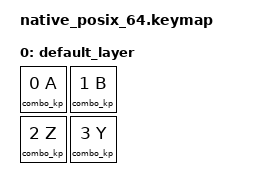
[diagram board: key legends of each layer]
#include <dt-bindings/zmk/keys.h>
#include <behaviors.dtsi>
#include <dt-bindings/zmk/kscan_mock.h>

/ {
    combos {
        compatible = "zmk,combos";
        combo_one {
            timeout-ms = <30>;
            triggers = <0 1>;
            bindings = <&kp C>;
        };

        combo_two {
            timeout-ms = <30>;
            triggers = <2 3>;
            bindings = <&kp D>;
        };
    };

    keymap {
        compatible = "zmk,keymap";

        default_layer {
            bindings = <
                &combo_kp 0 A &combo_kp 1 B
                &combo_kp 2 Z &combo_kp 3 Y
            >;
        };
    };
};

&kscan {
    events = <
        ZMK_MOCK_PRESS(0,0,10)
        ZMK_MOCK_PRESS(0,1,10)
        ZMK_MOCK_PRESS(1,0,10)
        ZMK_MOCK_PRESS(1,1,10)

        ZMK_MOCK_RELEASE(1,0,10)
        ZMK_MOCK_RELEASE(1,1,10)
        ZMK_MOCK_RELEASE(0,0,10)
        ZMK_MOCK_RELEASE(0,1,10)
    >;
};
